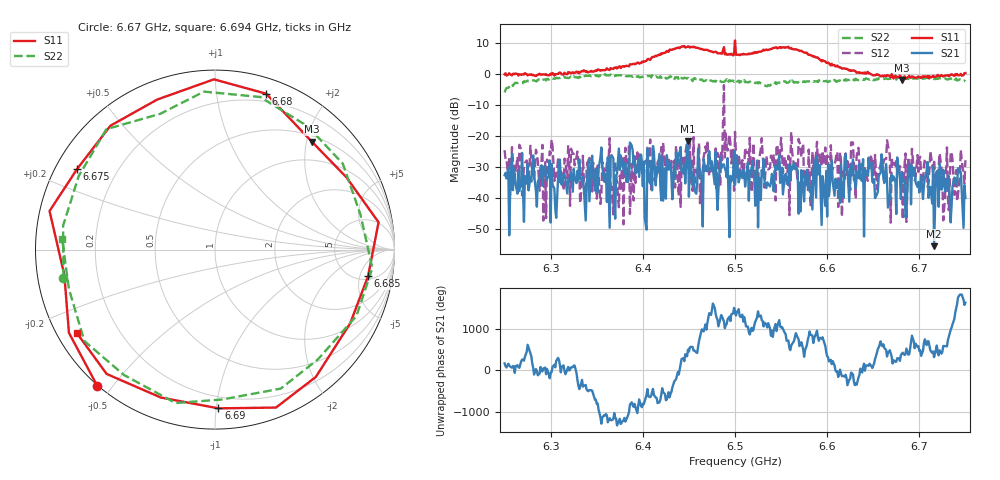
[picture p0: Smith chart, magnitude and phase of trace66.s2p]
# Hz S RI R 50
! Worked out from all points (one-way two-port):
!   401 points, 6.25 GHz to 6.75 GHz, reference 50 ohm
!   highest |S21| = -21.64 dB at 6.449 GHz (marker M1); lowest = -55.6 dB at 6.716 GHz (marker M2)
!   lowest |S11| = -1.9 dB at 6.681 GHz (marker M3), VSWR 9.42, Z = 30.2 + j105 ohm
!   |S11| at or under -10 dB: nowhere
!   |S22| runs from -5.9 to 0.0 dB; largest |S21 - S12| = 0.69
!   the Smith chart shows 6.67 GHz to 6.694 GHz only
!   S11 on the Smith chart (normalised r, x): 6.67 GHz: -0.00, -0.46; 6.675 GHz: 0.06, +0.27; 6.68 GHz: 0.13, +1.37; 6.685 GHz: 5.76, -6.79; 6.69 GHz: 0.12, -1.01; 6.694 GHz: 0.06, -0.28
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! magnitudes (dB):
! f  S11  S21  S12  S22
! 6.25 GHz  0.0  -32.7  -24.6  -5.9
! 6.334 GHz  1.0  -34.8  -34.5  -0.4
! 6.389 GHz  3.2  -24.7  -39.1  -0.9
! 6.418 GHz  6.3  -25.7  -27.3  -1.1
! 6.44 GHz  8.4  -25.1  -27.0  -1.1
! 6.449 GHz  9.0  -21.6  -26.0  -1.2
! 6.475 GHz  7.3  -28.2  -28.3  -2.1
! 6.49 GHz  6.8  -31.3  -19.2  -2.0
! 6.5 GHz  10.9  -35.7  -18.6  -2.2
! 6.558 GHz  8.8  -35.9  -26.4  -2.7
! 6.571 GHz  7.5  -44.4  -22.6  -2.3
! 6.584 GHz  5.9  -43.7  -25.1  -2.1
! 6.668 GHz  -0.7  -39.8  -26.1  -1.5
! 6.67 GHz  0.0  -32.5  -26.8  -1.3
! 6.675 GHz  -1.0  -45.2  -27.4  -1.8
! 6.68 GHz  -0.8  -40.3  -30.2  -1.3
! 6.681 GHz  -1.9  -31.8  -30.8  -1.6
! 6.685 GHz  -1.3  -46.2  -25.6  -1.5
! 6.69 GHz  -1.1  -29.1  -32.7  -1.3
! 6.694 GHz  -0.9  -32.8  -31.0  -1.4
! 6.716 GHz  -0.9  -55.6  -27.6  -1.6
! 6.75 GHz  0.4  -40.0  -27.8  -2.3
